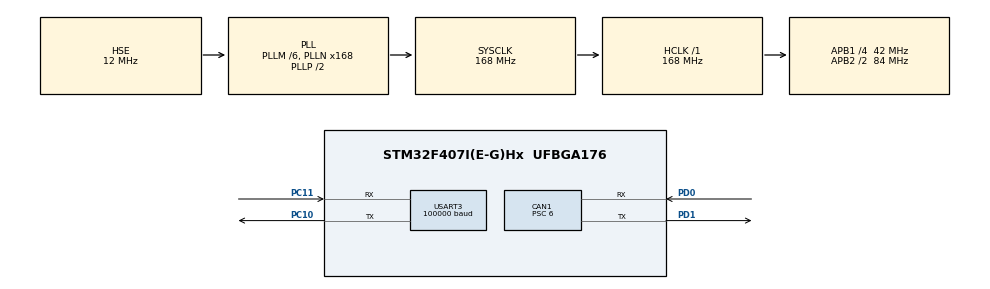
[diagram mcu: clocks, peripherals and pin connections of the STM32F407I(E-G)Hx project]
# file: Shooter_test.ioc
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CAN1.ABOM=ENABLE
CAN1.BS1=CAN_BS1_4TQ
CAN1.BS2=CAN_BS2_2TQ
CAN1.CalculateBaudRate=1000000
CAN1.CalculateTimeBit=1000
CAN1.CalculateTimeQuantum=142.85714285714286
CAN1.Prescaler=6
Dma.Request0=USART3_RX
Dma.USART3_RX.0.Direction=DMA_PERIPH_TO_MEMORY
Dma.USART3_RX.0.FIFOMode=DMA_FIFOMODE_DISABLE
Dma.USART3_RX.0.Instance=DMA1_Stream1
Dma.USART3_RX.0.MemDataAlignment=DMA_MDATAALIGN_BYTE
Dma.USART3_RX.0.MemInc=DMA_MINC_ENABLE
Dma.USART3_RX.0.Mode=DMA_CIRCULAR
Dma.USART3_RX.0.PeriphDataAlignment=DMA_PDATAALIGN_BYTE
Dma.USART3_RX.0.PeriphInc=DMA_PINC_DISABLE
Dma.USART3_RX.0.Priority=DMA_PRIORITY_VERY_HIGH
Mcu.Family=STM32F4
Mcu.Name=STM32F407I(E-G)Hx
Mcu.Package=UFBGA176
NVIC.CAN1_RX0_IRQn=true\:5\:0\:true\:false\:true\:true\:true\:true
NVIC.CAN1_RX1_IRQn=true\:5\:0\:true\:false\:true\:true\:true\:true
NVIC.CAN1_SCE_IRQn=true\:5\:0\:true\:false\:true\:true\:true\:true
NVIC.CAN1_TX_IRQn=true\:5\:0\:true\:false\:true\:true\:true\:true
NVIC.DMA1_Stream1_IRQn=true\:0\:0\:false\:false\:true\:false\:true\:true
NVIC.PriorityGroup=NVIC_PRIORITYGROUP_4
NVIC.USART3_IRQn=true\:6\:0\:true\:false\:true\:true\:true\:true
PA13.Mode=Serial_Wire
PA13.Signal=SYS_JTMS-SWDIO
PA14.Mode=Serial_Wire
PA14.Signal=SYS_JTCK-SWCLK
PC10.Mode=Asynchronous
PC10.Signal=USART3_TX
PC11.Mode=Asynchronous
PC11.Signal=USART3_RX
PD0.Mode=CAN_Activate
PD0.Signal=CAN1_RX
PD1.Mode=CAN_Activate
PD1.Signal=CAN1_TX
PH0-OSC_IN.Mode=HSE-External-Oscillator
PH0-OSC_IN.Signal=RCC_OSC_IN
PH1-OSC_OUT.Mode=HSE-External-Oscillator
PH1-OSC_OUT.Signal=RCC_OSC_OUT
ProjectManager.HeapSize=0x200
ProjectManager.StackSize=0x400
ProjectManager.TargetToolchain=STM32CubeIDE
RCC.48MHZClocksFreq_Value=84000000
RCC.AHBFreq_Value=168000000
RCC.APB1CLKDivider=RCC_HCLK_DIV4
RCC.APB1Freq_Value=42000000
RCC.APB1TimFreq_Value=84000000
RCC.APB2CLKDivider=RCC_HCLK_DIV2
RCC.APB2Freq_Value=84000000
RCC.APB2TimFreq_Value=168000000
RCC.CortexFreq_Value=168000000
RCC.HCLKFreq_Value=168000000
RCC.HSE_VALUE=12000000
RCC.HSI_VALUE=16000000
RCC.LSE_VALUE=32768
RCC.PLLM=6
RCC.PLLN=168
RCC.PLLSourceVirtual=RCC_PLLSOURCE_HSE
RCC.SYSCLKFreq_VALUE=168000000
RCC.SYSCLKSource=RCC_SYSCLKSOURCE_PLLCLK
RCC.VCOOutputFreq_Value=336000000
USART3.BaudRate=100000
USART3.Mode=MODE_RX
USART3.Parity=PARITY_EVEN
USART3.VirtualMode=VM_ASYNC
USART3.WordLength=WORDLENGTH_9B
board=custom

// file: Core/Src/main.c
/* USER CODE BEGIN Header */
/**
  ******************************************************************************
  * @file           : main.c
  * @brief          : Main program body
  ******************************************************************************
  * @attention
  *
  * Copyright (c) 2023 STMicroelectronics.
  * All rights reserved.
  *
  * This software is licensed under terms that can be found in the LICENSE file
  * in the root directory of this software component.
  * If no LICENSE file comes with this software, it is provided AS-IS.
  *
  ******************************************************************************
  */
/* USER CODE END Header */
#include "main.h"

/* USER CODE BEGIN Includes */
#include "can.h"
#include "pid.h"
#include "friction.h"
#include "remote.h"
#include "WatchDog.h"
/* USER CODE END Includes */

CAN_HandleTypeDef hcan1;

UART_HandleTypeDef huart3;
DMA_HandleTypeDef hdma_usart3_rx;

void SystemClock_Config(void);
static void MX_GPIO_Init(void);
static void MX_DMA_Init(void);
static void MX_USART3_UART_Init(void);
/* USER CODE BEGIN PFP */
void Can_MessageConfig(void);
void Can_Filter1Config(void);
void HAL_CAN_RxFifo0MsgPendingCallback(CAN_HandleTypeDef *hcan);
/* USER CODE END PFP */

/* USER CODE BEGIN 0 */
int show_motor1,show_motor2,friction_speed_commend,ammo_feed_commend=0;
extern uint8_t RC_buff[18];

/* USER CODE END 0 */

int main(void)
{

  /* MCU Configuration--------------------------------------------------------*/

  /* Reset of all peripherals, Initializes the Flash interface and the Systick. */
  HAL_Init();

  /* Configure the system clock */
  SystemClock_Config();

  /* Initialize all configured peripherals */
  MX_GPIO_Init();
  MX_DMA_Init();
  MX_CAN1_Init();
  MX_USART3_UART_Init();
  /* USER CODE BEGIN 2 */
  Can_MessageConfig();
  Can_Filter1Config();
  HAL_CAN_ActivateNotification(&hcan1, CAN_IT_RX_FIFO0_MSG_PENDING);
  HAL_CAN_Start(&hcan1);
  PID_Clear(&PID_Motor_Speed[0]);
  PID_Clear(&PID_Motor_Angle[0]);
  PID_Init();
  /* USER CODE END 2 */
  HAL_UART_Receive_DMA(&huart3, RC_buff, RC_FRAME_LENGTH);//初始化遥控器DMA
  __HAL_UART_ENABLE_IT(&huart3, UART_IT_IDLE);//IDLE 中断使能
  /* Infinite loop */
  /* USER CODE BEGIN WHILE */
	Motor[1].target_speed = 0;
	Motor[2].target_speed = 0;
	HAL_Delay(1000);
	Motor[1].target_speed = 0;//3000;//目前速度3000，可以打�?2m�?
	Motor[2].target_speed = 0;//-3000;
	Motor[3].target_speed = 0;//5000;
  while (1)
  {
  Motor_Status = 1;
  Dog_Status_update(&remote_WatchDog);//remote WatchDog update
//	sendMessage();
  if(remote_WatchDog.status)
	{
	/****************遥控器控制*******************/
	friction_speed_commend = RC_Ctl.rc.ch2*5;
	ammo_feed_commend = RC_Ctl.rc.ch4*5;
	if(RC_Ctl.rc.sw2 == 2)
	{
		Motor[1].target_speed = friction_speed_commend;
		Motor[2].target_speed = friction_speed_commend;
		Motor[3].target_speed = ammo_feed_commend;
		sendMessage();
		HAL_Delay(10);
	}
	else
	{
		Motor[1].target_speed = 0;
		Motor[2].target_speed = 0;
		Motor[3].target_speed = 0;
		sendMessage();
		HAL_Delay(10);
	}
	}
	show_motor1=Motor[1].speed;
	show_motor2=-Motor[2].speed;
	HAL_Delay(1);
	//HAL_CAN_ActivateNotification(&hcan1, CAN_IT_RX_FIFO0_MSG_PENDING);
    /* USER CODE END WHILE */

  }
}

void SystemClock_Config(void)
{
  RCC_OscInitTypeDef RCC_OscInitStruct = {0};
  RCC_ClkInitTypeDef RCC_ClkInitStruct = {0};

  /** Configure the main internal regulator output voltage
  */
  __HAL_RCC_PWR_CLK_ENABLE();
  __HAL_PWR_VOLTAGESCALING_CONFIG(PWR_REGULATOR_VOLTAGE_SCALE1);

  /** Initializes the RCC Oscillators according to the specified parameters
  * in the RCC_OscInitTypeDef structure.
  */
  RCC_OscInitStruct.OscillatorType = RCC_OSCILLATORTYPE_HSE;
  RCC_OscInitStruct.HSEState = RCC_HSE_ON;
  RCC_OscInitStruct.PLL.PLLState = RCC_PLL_ON;
  RCC_OscInitStruct.PLL.PLLSource = RCC_PLLSOURCE_HSE;
  RCC_OscInitStruct.PLL.PLLM = 6;
  RCC_OscInitStruct.PLL.PLLN = 168;
  RCC_OscInitStruct.PLL.PLLP = RCC_PLLP_DIV2;
  RCC_OscInitStruct.PLL.PLLQ = 4;
  if (HAL_RCC_OscConfig(&RCC_OscInitStruct) != HAL_OK)
  {
    Error_Handler();
  }

  /** Initializes the CPU, AHB and APB buses clocks
  */
  RCC_ClkInitStruct.ClockType = RCC_CLOCKTYPE_HCLK|RCC_CLOCKTYPE_SYSCLK
                              |RCC_CLOCKTYPE_PCLK1|RCC_CLOCKTYPE_PCLK2;
  RCC_ClkInitStruct.SYSCLKSource = RCC_SYSCLKSOURCE_PLLCLK;
  RCC_ClkInitStruct.AHBCLKDivider = RCC_SYSCLK_DIV1;
  RCC_ClkInitStruct.APB1CLKDivider = RCC_HCLK_DIV4;
  RCC_ClkInitStruct.APB2CLKDivider = RCC_HCLK_DIV2;

  if (HAL_RCC_ClockConfig(&RCC_ClkInitStruct, FLASH_LATENCY_5) != HAL_OK)
  {
    Error_Handler();
  }
}

static void MX_USART3_UART_Init(void)
{

  huart3.Instance = USART3;
  huart3.Init.BaudRate = 100000;
  huart3.Init.WordLength = UART_WORDLENGTH_9B;
  huart3.Init.StopBits = UART_STOPBITS_1;
  huart3.Init.Parity = UART_PARITY_EVEN;
  huart3.Init.Mode = UART_MODE_RX;
  huart3.Init.HwFlowCtl = UART_HWCONTROL_NONE;
  huart3.Init.OverSampling = UART_OVERSAMPLING_16;
  if (HAL_UART_Init(&huart3) != HAL_OK)
  {
    Error_Handler();
  }

}

static void MX_DMA_Init(void)
{

  /* DMA controller clock enable */
  __HAL_RCC_DMA1_CLK_ENABLE();

  /* DMA interrupt init */
  /* DMA1_Stream1_IRQn interrupt configuration */
  HAL_NVIC_SetPriority(DMA1_Stream1_IRQn, 0, 0);
  HAL_NVIC_EnableIRQ(DMA1_Stream1_IRQn);

}

static void MX_GPIO_Init(void)
{

  /* GPIO Ports Clock Enable */
  __HAL_RCC_GPIOA_CLK_ENABLE();
  __HAL_RCC_GPIOD_CLK_ENABLE();
  __HAL_RCC_GPIOC_CLK_ENABLE();
  __HAL_RCC_GPIOH_CLK_ENABLE();

}

void Error_Handler(void)
{
  __disable_irq();
  while (1)
  {
  }
}
